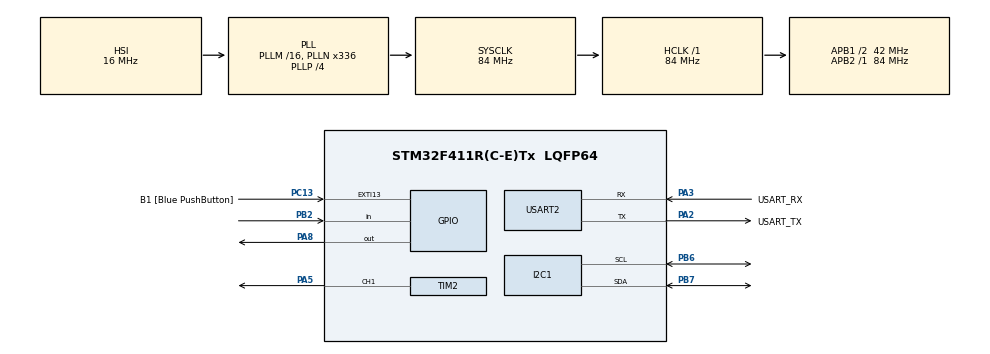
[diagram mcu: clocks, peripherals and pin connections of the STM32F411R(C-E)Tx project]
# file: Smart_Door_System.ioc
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FREERTOS.Queues01=myQueue1,16,uint16_t,0,Dynamic,NULL,NULL
FREERTOS.Tasks01=Task1,24,128,StartTask1,Default,NULL,Dynamic,NULL,NULL;Task2,8,128,StartTask2,Default,NULL,Dynamic,NULL,NULL
I2C1.I2C_Mode=I2C_Fast
Mcu.Family=STM32F4
Mcu.Name=STM32F411R(C-E)Tx
Mcu.Package=LQFP64
NVIC.PriorityGroup=NVIC_PRIORITYGROUP_4
NVIC.TIM5_IRQn=true\:15\:0\:false\:false\:true\:false\:false\:true\:true
NVIC.TimeBase=TIM5_IRQn
NVIC.TimeBaseIP=TIM5
PA13.GPIO_Label=TMS
PA13.Mode=Serial_Wire
PA13.Signal=SYS_JTMS-SWDIO
PA14.GPIO_Label=TCK
PA14.Mode=Serial_Wire
PA14.Signal=SYS_JTCK-SWCLK
PA2.GPIO_Label=USART_TX
PA2.Mode=Asynchronous
PA2.Signal=USART2_TX
PA3.GPIO_Label=USART_RX
PA3.Mode=Asynchronous
PA3.Signal=USART2_RX
PA5.Signal=S_TIM2_CH1_ETR
PA8.Signal=GPIO_Output
PB2.Signal=GPIO_Input
PB3.GPIO_Label=SWO
PB3.Signal=SYS_JTDO-SWO
PB6.Mode=I2C
PB6.Signal=I2C1_SCL
PB7.Mode=I2C
PB7.Signal=I2C1_SDA
PC13-ANTI_TAMP.GPIO_Label=B1 [Blue PushButton]
PC13-ANTI_TAMP.GPIO_ModeDefaultEXTI=GPIO_MODE_IT_FALLING
PC13-ANTI_TAMP.Signal=GPXTI13
PC14-OSC32_IN.Mode=LSE-External-Oscillator
PC14-OSC32_IN.Signal=RCC_OSC32_IN
PC15-OSC32_OUT.Mode=LSE-External-Oscillator
PC15-OSC32_OUT.Signal=RCC_OSC32_OUT
PH0\ -\ OSC_IN.Mode=HSE-External-Clock-Source
PH0\ -\ OSC_IN.Signal=RCC_OSC_IN
PH1\ -\ OSC_OUT.Mode=HSE-External-Clock-Source
PH1\ -\ OSC_OUT.Signal=RCC_OSC_OUT
ProjectManager.HeapSize=0x200
ProjectManager.StackSize=0x400
ProjectManager.TargetToolchain=CMake
RCC.48MHZClocksFreq_Value=84000000
RCC.AHBFreq_Value=84000000
RCC.APB1CLKDivider=RCC_HCLK_DIV2
RCC.APB1Freq_Value=42000000
RCC.APB1TimFreq_Value=84000000
RCC.APB2Freq_Value=84000000
RCC.APB2TimFreq_Value=84000000
RCC.CortexFreq_Value=84000000
RCC.FLatency-AdvancedSettings=FLASH_LATENCY_2
RCC.HCLKFreq_Value=84000000
RCC.HSE_VALUE=8000000
RCC.HSI_VALUE=16000000
RCC.PLLN=336
RCC.PLLP=RCC_PLLP_DIV4
RCC.SYSCLKFreq_VALUE=84000000
RCC.SYSCLKSource=RCC_SYSCLKSOURCE_PLLCLK
RCC.VCOOutputFreq_Value=336000000
SH.S_TIM2_CH1_ETR.0=TIM2_CH1,PWM Generation1 CH1
TIM2.Channel-PWM\ Generation1\ CH1=TIM_CHANNEL_1
TIM2.Period=19999
TIM2.Prescaler=83
USART2.VirtualMode=VM_ASYNC
VP_FREERTOS_VS_CMSIS_V2.Mode=CMSIS_V2
VP_SYS_VS_tim5.Mode=TIM5
board=NUCLEO-F411RE

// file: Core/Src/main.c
/* USER CODE BEGIN Header */
/**
  ******************************************************************************
  * @file           : main.c
  * @brief          : Main program body
  ******************************************************************************
  * @attention
  *
  * Copyright (c) 2026 STMicroelectronics.
  * All rights reserved.
  *
  * This software is licensed under terms that can be found in the LICENSE file
  * in the root directory of this software component.
  * If no LICENSE file comes with this software, it is provided AS-IS.
  *
  ******************************************************************************
  */
/* USER CODE END Header */
#include "main.h"
#include "cmsis_os.h"

/* USER CODE BEGIN Includes */
#include <stdio.h>
#include <string.h>
#include <sys/types.h>
/* USER CODE END Includes */

/* USER CODE BEGIN PD */
#define SERVO_0DEG     500
#define SERVO_45DEG   1000
#define SERVO_90DEG   1500
#define SERVO_135DEG  2000
#define SERVO_180DEG  2500
/* USER CODE END PD */

I2C_HandleTypeDef hi2c1;

TIM_HandleTypeDef htim2;

UART_HandleTypeDef huart2;

/* Definitions for Task1 */
osThreadId_t Task1Handle;
const osThreadAttr_t Task1_attributes = {
  .name = "Task1",
  .stack_size = 256 * 4,
  .priority = (osPriority_t) osPriorityNormal,
};
/* Definitions for Task2 */
osThreadId_t Task2Handle;
const osThreadAttr_t Task2_attributes = {
  .name = "Task2",
  .stack_size = 256 * 4,
  .priority = (osPriority_t) osPriorityLow,
};
/* Definitions for myQueue1 */
osMessageQueueId_t myQueue1Handle;
const osMessageQueueAttr_t myQueue1_attributes = {
  .name = "myQueue1"
};

void SystemClock_Config(void);
static void MX_GPIO_Init(void);
static void MX_I2C1_Init(void);
static void MX_USART2_UART_Init(void);
static void MX_TIM2_Init(void);
void StartTask1(void *argument);
void StartTask2(void *argument);

int main(void)
{

  /* MCU Configuration--------------------------------------------------------*/

  /* Reset of all peripherals, Initializes the Flash interface and the Systick. */
  HAL_Init();

  /* Configure the system clock */
  SystemClock_Config();

  /* Initialize all configured peripherals */
  MX_GPIO_Init();
  MX_I2C1_Init();
  MX_USART2_UART_Init();
  MX_TIM2_Init();
  /* USER CODE BEGIN 2 */
  HAL_TIM_PWM_Start(&htim2, TIM_CHANNEL_1);
  /* USER CODE END 2 */

  /* Init scheduler */
  osKernelInitialize();

  /* Create the queue(s) */
  /* creation of myQueue1 */
  myQueue1Handle = osMessageQueueNew (16, sizeof(uint32_t), &myQueue1_attributes);

  /* Create the thread(s) */
  /* creation of Task1 */
  Task1Handle = osThreadNew(StartTask1, NULL, &Task1_attributes);

  /* creation of Task2 */
  Task2Handle = osThreadNew(StartTask2, NULL, &Task2_attributes);

  /* Start scheduler */
  osKernelStart();

  /* We should never get here as control is now taken by the scheduler */

  /* Infinite loop */
  while (1)
  {

  }
}

void SystemClock_Config(void)
{
  RCC_OscInitTypeDef RCC_OscInitStruct = {0};
  RCC_ClkInitTypeDef RCC_ClkInitStruct = {0};

  /** Configure the main internal regulator output voltage
  */
  __HAL_RCC_PWR_CLK_ENABLE();
  __HAL_PWR_VOLTAGESCALING_CONFIG(PWR_REGULATOR_VOLTAGE_SCALE1);

  /** Initializes the RCC Oscillators according to the specified parameters
  * in the RCC_OscInitTypeDef structure.
  */
  RCC_OscInitStruct.OscillatorType = RCC_OSCILLATORTYPE_HSI;
  RCC_OscInitStruct.HSIState = RCC_HSI_ON;
  RCC_OscInitStruct.HSICalibrationValue = RCC_HSICALIBRATION_DEFAULT;
  RCC_OscInitStruct.PLL.PLLState = RCC_PLL_ON;
  RCC_OscInitStruct.PLL.PLLSource = RCC_PLLSOURCE_HSI;
  RCC_OscInitStruct.PLL.PLLM = 16;
  RCC_OscInitStruct.PLL.PLLN = 336;
  RCC_OscInitStruct.PLL.PLLP = RCC_PLLP_DIV4;
  RCC_OscInitStruct.PLL.PLLQ = 4;
  if (HAL_RCC_OscConfig(&RCC_OscInitStruct) != HAL_OK)
  {
    Error_Handler();
  }

  /** Initializes the CPU, AHB and APB buses clocks
  */
  RCC_ClkInitStruct.ClockType = RCC_CLOCKTYPE_HCLK|RCC_CLOCKTYPE_SYSCLK
                              |RCC_CLOCKTYPE_PCLK1|RCC_CLOCKTYPE_PCLK2;
  RCC_ClkInitStruct.SYSCLKSource = RCC_SYSCLKSOURCE_PLLCLK;
  RCC_ClkInitStruct.AHBCLKDivider = RCC_SYSCLK_DIV1;
  RCC_ClkInitStruct.APB1CLKDivider = RCC_HCLK_DIV2;
  RCC_ClkInitStruct.APB2CLKDivider = RCC_HCLK_DIV1;

  if (HAL_RCC_ClockConfig(&RCC_ClkInitStruct, FLASH_LATENCY_2) != HAL_OK)
  {
    Error_Handler();
  }
}

static void MX_I2C1_Init(void)
{

  hi2c1.Instance = I2C1;
  hi2c1.Init.ClockSpeed = 400000;
  hi2c1.Init.DutyCycle = I2C_DUTYCYCLE_2;
  hi2c1.Init.OwnAddress1 = 0;
  hi2c1.Init.AddressingMode = I2C_ADDRESSINGMODE_7BIT;
  hi2c1.Init.DualAddressMode = I2C_DUALADDRESS_DISABLE;
  hi2c1.Init.OwnAddress2 = 0;
  hi2c1.Init.GeneralCallMode = I2C_GENERALCALL_DISABLE;
  hi2c1.Init.NoStretchMode = I2C_NOSTRETCH_DISABLE;
  if (HAL_I2C_Init(&hi2c1) != HAL_OK)
  {
    Error_Handler();
  }

}

static void MX_TIM2_Init(void)
{

  TIM_MasterConfigTypeDef sMasterConfig = {0};
  TIM_OC_InitTypeDef sConfigOC = {0};

  htim2.Instance = TIM2;
  htim2.Init.Prescaler = 83;
  htim2.Init.CounterMode = TIM_COUNTERMODE_UP;
  htim2.Init.Period = 19999;
  htim2.Init.ClockDivision = TIM_CLOCKDIVISION_DIV1;
  htim2.Init.AutoReloadPreload = TIM_AUTORELOAD_PRELOAD_DISABLE;
  if (HAL_TIM_PWM_Init(&htim2) != HAL_OK)
  {
    Error_Handler();
  }
  sMasterConfig.MasterOutputTrigger = TIM_TRGO_RESET;
  sMasterConfig.MasterSlaveMode = TIM_MASTERSLAVEMODE_DISABLE;
  if (HAL_TIMEx_MasterConfigSynchronization(&htim2, &sMasterConfig) != HAL_OK)
  {
    Error_Handler();
  }
  sConfigOC.OCMode = TIM_OCMODE_PWM1;
  sConfigOC.Pulse = 0;
  sConfigOC.OCPolarity = TIM_OCPOLARITY_HIGH;
  sConfigOC.OCFastMode = TIM_OCFAST_DISABLE;
  if (HAL_TIM_PWM_ConfigChannel(&htim2, &sConfigOC, TIM_CHANNEL_1) != HAL_OK)
  {
    Error_Handler();
  }
  HAL_TIM_MspPostInit(&htim2);

}

static void MX_USART2_UART_Init(void)
{

  huart2.Instance = USART2;
  huart2.Init.BaudRate = 115200;
  huart2.Init.WordLength = UART_WORDLENGTH_8B;
  huart2.Init.StopBits = UART_STOPBITS_1;
  huart2.Init.Parity = UART_PARITY_NONE;
  huart2.Init.Mode = UART_MODE_TX_RX;
  huart2.Init.HwFlowCtl = UART_HWCONTROL_NONE;
  huart2.Init.OverSampling = UART_OVERSAMPLING_16;
  if (HAL_UART_Init(&huart2) != HAL_OK)
  {
    Error_Handler();
  }

}

static void MX_GPIO_Init(void)
{
  GPIO_InitTypeDef GPIO_InitStruct = {0};

  /* GPIO Ports Clock Enable */
  __HAL_RCC_GPIOC_CLK_ENABLE();
  __HAL_RCC_GPIOH_CLK_ENABLE();
  __HAL_RCC_GPIOA_CLK_ENABLE();
  __HAL_RCC_GPIOB_CLK_ENABLE();

  /*Configure GPIO pin Output Level */
  HAL_GPIO_WritePin(GPIOA, GPIO_PIN_8, GPIO_PIN_RESET);

  /*Configure GPIO pin : B1_Pin */
  GPIO_InitStruct.Pin = B1_Pin;
  GPIO_InitStruct.Mode = GPIO_MODE_IT_FALLING;
  GPIO_InitStruct.Pull = GPIO_NOPULL;
  HAL_GPIO_Init(B1_GPIO_Port, &GPIO_InitStruct);

  /*Configure GPIO pin : PB2 */
  GPIO_InitStruct.Pin = GPIO_PIN_2;
  GPIO_InitStruct.Mode = GPIO_MODE_INPUT;
  GPIO_InitStruct.Pull = GPIO_NOPULL;
  HAL_GPIO_Init(GPIOB, &GPIO_InitStruct);

  /*Configure GPIO pin : PA8 */
  GPIO_InitStruct.Pin = GPIO_PIN_8;
  GPIO_InitStruct.Mode = GPIO_MODE_OUTPUT_PP;
  GPIO_InitStruct.Pull = GPIO_NOPULL;
  GPIO_InitStruct.Speed = GPIO_SPEED_FREQ_LOW;
  HAL_GPIO_Init(GPIOA, &GPIO_InitStruct);

}

void StartTask1(void *argument)
{
  /* USER CODE BEGIN 5 */
  /* Infinite loop */
  for(;;)
  {
    HAL_UART_Transmit(&huart2, (uint8_t*)"Hello from Task1\r\n", 19, HAL_MAX_DELAY);
    HAL_GPIO_WritePin(GPIOA, GPIO_PIN_8, 0);
    osDelay(5);
    HAL_GPIO_WritePin(GPIOA,GPIO_PIN_8, 1);
    osDelay(10);
    HAL_GPIO_WritePin(GPIOA, GPIO_PIN_8, 0);

    uint32_t timeout1 = 10000;
    while(HAL_GPIO_ReadPin(GPIOB, GPIO_PIN_2) == 0 && timeout1 > 0) timeout1--;

    uint32_t timeout2 = 5000000;
    while(HAL_GPIO_ReadPin(GPIOB, GPIO_PIN_2) == 1 && timeout2 > 0) timeout2--;

    // Calculate elapsed counts and convert to distance
    uint32_t elapsed = 5000000 - timeout2;
    // Each count = 1us (timer runs at 1MHz)
    // Distance = (time_us * speed_of_sound) / 2
    // Speed of sound = 0.0343 cm/us
    // So: distance_cm = elapsed * 0.01715
    uint32_t distance_cm = (elapsed * 1715) / 100000;
    /*if(distance_cm <= 10) {
      HAL_GPIO_WritePin(GPIOC, GPIO_PIN_8, 1);
      HAL_UART_Transmit(&huart2, (uint8_t*)"Object detected within 10 cm\r\n", 30, HAL_MAX_DELAY);
    } else if(distance_cm <= 20) {
        HAL_GPIO_WritePin(GPIOC, GPIO_PIN_8, 1);
        osDelay(180);
        HAL_GPIO_WritePin(GPIOC, GPIO_PIN_8, 0);
    } else {
      HAL_GPIO_WritePin(GPIOC, GPIO_PIN_8, 0);
    }*/
    osMessageQueuePut(myQueue1Handle, &distance_cm, 0, 0);
    osDelay(100);
  }
  /* USER CODE END 5 */
}

void StartTask2(void *argument)
{
  /* USER CODE BEGIN StartTask2 */
  uint32_t distance_cm = 0;
  /* Infinite loop */
  for(;;)
  {
  osMessageQueueGet(myQueue1Handle, &distance_cm, 0, osWaitForever);
  HAL_UART_Transmit(&huart2, (uint8_t*)"Task2 distance: ", 16, HAL_MAX_DELAY);
  char distance_str[16];
  snprintf(distance_str, sizeof(distance_str), "%lu cm\r\n", (unsigned long)distance_cm);
  HAL_UART_Transmit(&huart2, (uint8_t*)distance_str, strlen(distance_str), HAL_MAX_DELAY);
  // then use it to actually control the servo
  if(distance_cm <= 100) {
      __HAL_TIM_SET_COMPARE(&htim2, TIM_CHANNEL_1, SERVO_180DEG);   // lock
  } else {
      __HAL_TIM_SET_COMPARE(&htim2, TIM_CHANNEL_1, SERVO_0DEG);    // open
    }
  }
  /* USER CODE END StartTask2 */
}

void HAL_TIM_PeriodElapsedCallback(TIM_HandleTypeDef *htim)
{
  if (htim->Instance == TIM5)
  {
    HAL_IncTick();
  }
}

void Error_Handler(void)
{
  __disable_irq();
  while (1)
  {
  }
}
